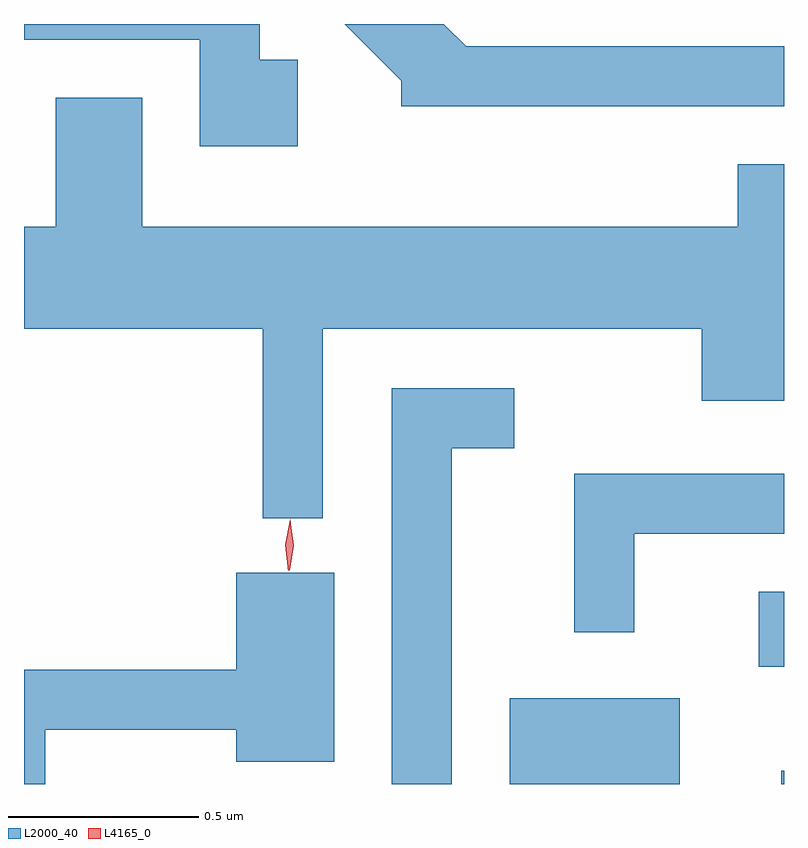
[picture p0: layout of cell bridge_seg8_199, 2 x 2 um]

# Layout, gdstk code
import gdstk
lib = gdstk.Library(unit=1e-6, precision=1e-09)
def R(c, l, rs):  # rectangles x0, y0, x1, y1
    for r in rs: c.add(gdstk.rectangle(r[:2], r[2:], *l))
def P(c, l, *ps):  # polygons
    for p in ps: c.add(gdstk.Polygon(p, *l))
L2000_40 = (2000, 40)
L4165_0 = (4165, 0)

bridge_seg8_199 = lib.new_cell('bridge_seg8_199')
R(bridge_seg8_199, L2000_40, [(1067.746,1912.918,1068.194,1913.144), (1068.461,1912.918,1068.468,1912.953), (1068.401,1913.226,1068.468,1913.424)])
P(bridge_seg8_199, L2000_40, [(1068.468,1914.859),(1067.632,1914.859),(1067.573,1914.918),(1067.312,1914.918),(1067.461,1914.769),(1067.461,1914.701),(1068.468,1914.701)],
  [(1067.189,1914.824),(1067.089,1914.824),(1067.089,1914.918),(1066.468,1914.918),(1066.468,1914.876),(1066.931,1914.876),(1066.931,1914.596),(1067.189,1914.596)],
  [(1067.254,1914.116),(1068.251,1914.116),(1068.251,1913.926),(1068.468,1913.926),(1068.468,1914.549),(1068.346,1914.549),(1068.346,1914.384),(1066.779,1914.384),(1066.779,1914.724),(1066.551,1914.724),(1066.551,1914.384),(1066.468,1914.384),(1066.468,1914.116),(1067.096,1914.116),(1067.096,1913.618),(1067.254,1913.618)],
  [(1067.594,1913.801),(1067.758,1913.801),(1067.758,1913.959),(1067.436,1913.959),(1067.436,1912.918),(1067.594,1912.918)],
  [(1068.074,1913.576),(1068.468,1913.576),(1068.468,1913.734),(1067.916,1913.734),(1067.916,1913.318),(1068.074,1913.318)],
  [(1066.524,1913.061),(1067.026,1913.061),(1067.026,1912.976),(1067.284,1912.976),(1067.284,1913.474),(1067.026,1913.474),(1067.026,1913.219),(1066.468,1913.219),(1066.468,1912.918),(1066.524,1912.918)])
P(bridge_seg8_199, L4165_0, [(1067.166,1913.48),(1067.166,1913.481),(1067.158,1913.546),(1067.168,1913.611),(1067.169,1913.612),(1067.169,1913.611),(1067.178,1913.546),(1067.167,1913.481)],
  [(1067.164,1913.478),(1067.164,1913.478),(1067.156,1913.547),(1067.168,1913.615),(1067.169,1913.615),(1067.169,1913.615),(1067.176,1913.546),(1067.164,1913.478)])

lib.write_gds('bridge_seg8_199.gds')
